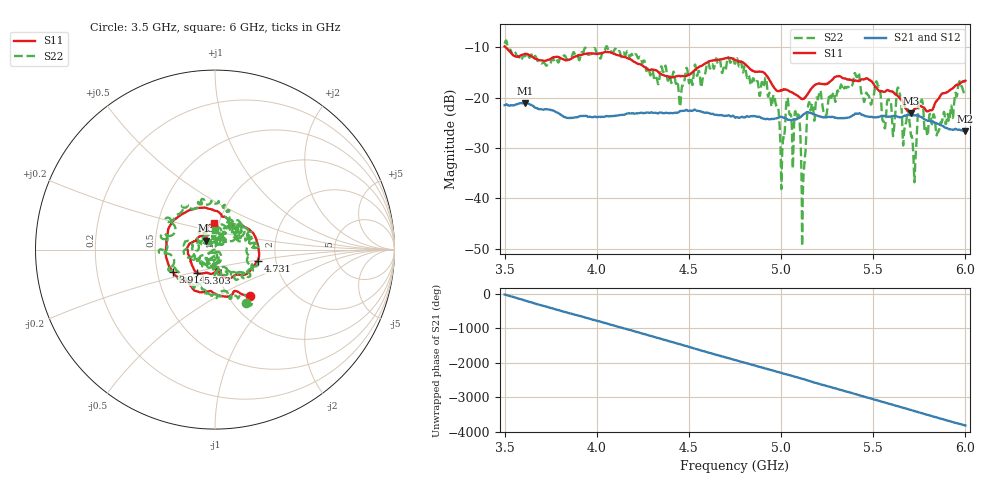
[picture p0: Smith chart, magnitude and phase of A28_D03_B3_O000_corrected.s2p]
! Created with skrf 1.9.0 (http://scikit-rf.org).
# Hz S RI R 50.0
!freq ReS11 ImS11 ReS21 ImS21 ReS12 ImS12 ReS22 ImS22
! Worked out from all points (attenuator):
!   1601 points, 3.5 GHz to 6 GHz, reference 50 ohm
!   highest |S21| = -21.07 dB at 3.611 GHz (marker M1); lowest = -26.7 dB at 5.998 GHz (marker M2)
!   lowest |S11| = -23.1 dB at 5.703 GHz (marker M3), VSWR 1.15, Z = 45.2 + j4.59 ohm
!   |S11| at or under -10 dB: 3.506 GHz to end of sweep
!   |S22| runs from -49.5 to -8.6 dB; largest |S21 - S12| = 0.001
!   S11 on the Smith chart (normalised r, x): 3.5 GHz: 1.26, -0.72; 3.914 GHz: 0.60, -0.16; 4.731 GHz: 1.61, -0.21; 5.303 GHz: 0.80, -0.21; 6 GHz: 0.94, +0.28
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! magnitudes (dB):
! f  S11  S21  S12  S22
! 3.5 GHz  -9.8  -21.5  -21.5  -9.3
! 3.611 GHz  -11.3  -21.1  -21.1  -11.8
! 3.914 GHz  -11.5  -23.7  -23.6  -11.3
! 3.917 GHz  -11.5  -23.7  -23.7  -11.0
! 4.334 GHz  -15.0  -23.1  -23.0  -17.3
! 4.731 GHz  -12.2  -23.7  -23.7  -12.6
! 4.75 GHz  -12.5  -24.0  -23.9  -13.3
! 4.969 GHz  -18.3  -24.2  -24.1  -20.9
! 5.006 GHz  -18.5  -23.9  -23.8  -30.7
! 5.034 GHz  -18.5  -24.4  -24.3  -20.0
! 5.088 GHz  -19.6  -24.2  -24.2  -23.8
! 5.12 GHz  -20.3  -23.4  -23.3  -36.7
! 5.147 GHz  -19.1  -22.9  -22.9  -21.6
! 5.167 GHz  -18.1  -23.1  -23.1  -21.3
! 5.303 GHz  -15.8  -24.0  -24.0  -19.0
! 5.584 GHz  -18.6  -23.8  -23.7  -20.4
! 5.703 GHz  -23.1  -23.5  -23.5  -27.1
! 5.723 GHz  -22.3  -23.5  -23.4  -36.8
! 5.756 GHz  -21.7  -23.8  -23.7  -21.2
! 5.85 GHz  -20.4  -25.2  -25.1  -26.8
! 5.998 GHz  -16.7  -26.7  -26.6  -19.4
! 6 GHz  -16.7  -26.7  -26.6  -19.3
